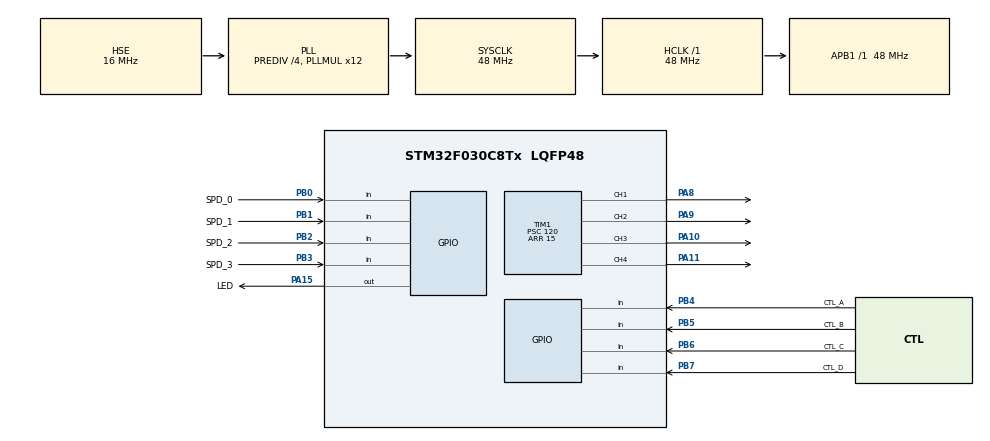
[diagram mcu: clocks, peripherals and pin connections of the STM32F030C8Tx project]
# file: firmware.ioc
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Mcu.Family=STM32F0
Mcu.Name=STM32F030C8Tx
Mcu.Package=LQFP48
NVIC.TIM1_BRK_UP_TRG_COM_IRQn=true\:0\:0\:true\:false\:true\:true\:true
PA10.GPIO_ModeDefaultPP=GPIO_MODE_AF_OD
PA10.GPIO_PuPd=GPIO_NOPULL
PA10.GPIO_Speed=GPIO_SPEED_FREQ_HIGH
PA10.Signal=S_TIM1_CH3
PA11.GPIO_ModeDefaultPP=GPIO_MODE_AF_OD
PA11.GPIO_PuPd=GPIO_NOPULL
PA11.GPIO_Speed=GPIO_SPEED_FREQ_HIGH
PA11.Signal=S_TIM1_CH4
PA13.Mode=Serial_Wire
PA13.Signal=SYS_SWDIO
PA14.Mode=Serial_Wire
PA14.Signal=SYS_SWCLK
PA15.GPIO_Label=LED
PA15.GPIO_Speed=GPIO_SPEED_FREQ_HIGH
PA15.Signal=GPIO_Output
PA8.GPIO_ModeDefaultPP=GPIO_MODE_AF_OD
PA8.GPIO_PuPd=GPIO_NOPULL
PA8.GPIO_Speed=GPIO_SPEED_FREQ_HIGH
PA8.Signal=S_TIM1_CH1
PA9.GPIO_ModeDefaultPP=GPIO_MODE_AF_OD
PA9.GPIO_PuPd=GPIO_NOPULL
PA9.GPIO_Speed=GPIO_SPEED_FREQ_HIGH
PA9.Signal=S_TIM1_CH2
PB0.GPIO_Label=SPD_0
PB0.GPIO_PuPd=GPIO_PULLUP
PB0.Signal=GPIO_Input
PB1.GPIO_Label=SPD_1
PB1.GPIO_PuPd=GPIO_PULLUP
PB1.Signal=GPIO_Input
PB2.GPIO_Label=SPD_2
PB2.GPIO_PuPd=GPIO_PULLUP
PB2.Signal=GPIO_Input
PB3.GPIO_Label=SPD_3
PB3.GPIO_PuPd=GPIO_PULLUP
PB3.Signal=GPIO_Input
PB4.GPIO_Label=CTL_A
PB4.GPIO_PuPd=GPIO_PULLUP
PB4.Signal=GPIO_Input
PB5.GPIO_Label=CTL_B
PB5.GPIO_PuPd=GPIO_PULLUP
PB5.Signal=GPIO_Input
PB6.GPIO_Label=CTL_C
PB6.GPIO_PuPd=GPIO_PULLUP
PB6.Signal=GPIO_Input
PB7.GPIO_Label=CTL_D
PB7.GPIO_PuPd=GPIO_PULLUP
PB7.Signal=GPIO_Input
PF0-OSC_IN.Mode=HSE-External-Oscillator
PF0-OSC_IN.Signal=RCC_OSC_IN
PF1-OSC_OUT.Mode=HSE-External-Oscillator
PF1-OSC_OUT.Signal=RCC_OSC_OUT
ProjectManager.HeapSize=0x200
ProjectManager.StackSize=0x400
ProjectManager.TargetToolchain=SW4STM32
RCC.AHBFreq_Value=48000000
RCC.APB1Freq_Value=48000000
RCC.APB1TimFreq_Value=48000000
RCC.EnbaleCSS=true
RCC.HCLKFreq_Value=48000000
RCC.HSE_VALUE=16000000
RCC.PLLDivider=RCC_PREDIV_DIV4
RCC.PLLMUL=RCC_PLL_MUL12
RCC.PLLSourceVirtual=RCC_PLLSOURCE_HSE
RCC.SYSCLKFreq_VALUE=48000000
RCC.SYSCLKSource=RCC_SYSCLKSOURCE_PLLCLK
SH.S_TIM1_CH1.0=TIM1_CH1,PWM Generation1 CH1
SH.S_TIM1_CH2.0=TIM1_CH2,PWM Generation2 CH2
SH.S_TIM1_CH3.0=TIM1_CH3,PWM Generation3 CH3
SH.S_TIM1_CH4.0=TIM1_CH4,PWM Generation4 CH4
TIM1.Channel-PWM\ Generation1\ CH1=TIM_CHANNEL_1
TIM1.Channel-PWM\ Generation2\ CH2=TIM_CHANNEL_2
TIM1.Channel-PWM\ Generation3\ CH3=TIM_CHANNEL_3
TIM1.Channel-PWM\ Generation4\ CH4=TIM_CHANNEL_4
TIM1.OCFastMode_PWM-PWM\ Generation1\ CH1=TIM_OCFAST_ENABLE
TIM1.OCFastMode_PWM-PWM\ Generation2\ CH2=TIM_OCFAST_ENABLE
TIM1.OCFastMode_PWM-PWM\ Generation3\ CH3=TIM_OCFAST_ENABLE
TIM1.OCFastMode_PWM-PWM\ Generation4\ CH4=TIM_OCFAST_ENABLE
TIM1.Period=15
TIM1.Prescaler=120
VP_IWDG_VS_IWDG.Mode=IWDG_Activate
VP_TIM1_VS_ClockSourceINT.Mode=Internal
board=custom

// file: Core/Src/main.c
/* USER CODE BEGIN Header */
/**
  ******************************************************************************
  * @file           : main.c
  * @brief          : Main program body
  ******************************************************************************
  * @attention
  *
  * <h2><center>&copy; Copyright (c) 2019 STMicroelectronics.
  * All rights reserved.</center></h2>
  *
  * This software component is licensed by ST under BSD 3-Clause license,
  * the "License"; You may not use this file except in compliance with the
  * License. You may obtain a copy of the License at:
  *                        opensource.org/licenses/BSD-3-Clause
  *
  ******************************************************************************
  */
/* USER CODE END Header */

#include "main.h"

IWDG_HandleTypeDef hiwdg;

TIM_HandleTypeDef htim1;

/* USER CODE BEGIN PV */
static uint8_t pwmValue = 0;
/* USER CODE END PV */

void SystemClock_Config(void);
static void MX_GPIO_Init(void);
static void MX_IWDG_Init(void);
static void MX_TIM1_Init(void);

int main(void)
{

  /* MCU Configuration--------------------------------------------------------*/

  /* Reset of all peripherals, Initializes the Flash interface and the Systick. */
  HAL_Init();

  /* Configure the system clock */
  SystemClock_Config();

  /* Initialize all configured peripherals */
  MX_GPIO_Init();
  MX_IWDG_Init();
  MX_TIM1_Init();
  /* USER CODE BEGIN 2 */
  HAL_TIM_PWM_Start_IT(&htim1, TIM_CHANNEL_1);
  HAL_TIM_PWM_Start_IT(&htim1, TIM_CHANNEL_2);
  HAL_TIM_PWM_Start_IT(&htim1, TIM_CHANNEL_3);
  HAL_TIM_PWM_Start_IT(&htim1, TIM_CHANNEL_4);
  /* USER CODE END 2 */

  /* Infinite loop */
  /* USER CODE BEGIN WHILE */
  while (1) {
	  HAL_GPIO_TogglePin(LED_GPIO_Port, LED_Pin);

	  pwmValue = !HAL_GPIO_ReadPin(SPD_0_GPIO_Port, SPD_0_Pin);
	  pwmValue |= !HAL_GPIO_ReadPin(SPD_1_GPIO_Port, SPD_1_Pin) << 1;
	  pwmValue |= !HAL_GPIO_ReadPin(SPD_2_GPIO_Port, SPD_2_Pin) << 2;
	  pwmValue |= !HAL_GPIO_ReadPin(SPD_3_GPIO_Port, SPD_3_Pin) << 3;
	  pwmValue &= 0xF;

	  htim1.Instance->CCR1 = pwmValue;
	  htim1.Instance->CCR2 = pwmValue;
	  htim1.Instance->CCR3 = pwmValue;
	  htim1.Instance->CCR4 = pwmValue;

	  if (HAL_GPIO_ReadPin(CTL_A_GPIO_Port, CTL_A_Pin) == GPIO_PIN_SET)
		  htim1.Instance->CCR1 = 0x0;
	  if (HAL_GPIO_ReadPin(CTL_B_GPIO_Port, CTL_B_Pin) == GPIO_PIN_SET)
		  htim1.Instance->CCR2 = 0x0;
	  if (HAL_GPIO_ReadPin(CTL_C_GPIO_Port, CTL_C_Pin) == GPIO_PIN_SET)
		  htim1.Instance->CCR3 = 0x0;
	  if (HAL_GPIO_ReadPin(CTL_D_GPIO_Port, CTL_D_Pin) == GPIO_PIN_SET)
		  htim1.Instance->CCR4 = 0x0;

	  HAL_IWDG_Refresh(&hiwdg);
    /* USER CODE END WHILE */

  }
}

void SystemClock_Config(void)
{
  RCC_OscInitTypeDef RCC_OscInitStruct = {0};
  RCC_ClkInitTypeDef RCC_ClkInitStruct = {0};

  /** Initializes the CPU, AHB and APB busses clocks
  */
  RCC_OscInitStruct.OscillatorType = RCC_OSCILLATORTYPE_LSI|RCC_OSCILLATORTYPE_HSE;
  RCC_OscInitStruct.HSEState = RCC_HSE_ON;
  RCC_OscInitStruct.LSIState = RCC_LSI_ON;
  RCC_OscInitStruct.PLL.PLLState = RCC_PLL_ON;
  RCC_OscInitStruct.PLL.PLLSource = RCC_PLLSOURCE_HSE;
  RCC_OscInitStruct.PLL.PLLMUL = RCC_PLL_MUL12;
  RCC_OscInitStruct.PLL.PREDIV = RCC_PREDIV_DIV4;
  if (HAL_RCC_OscConfig(&RCC_OscInitStruct) != HAL_OK)
  {
    Error_Handler();
  }
  /** Initializes the CPU, AHB and APB busses clocks
  */
  RCC_ClkInitStruct.ClockType = RCC_CLOCKTYPE_HCLK|RCC_CLOCKTYPE_SYSCLK
                              |RCC_CLOCKTYPE_PCLK1;
  RCC_ClkInitStruct.SYSCLKSource = RCC_SYSCLKSOURCE_PLLCLK;
  RCC_ClkInitStruct.AHBCLKDivider = RCC_SYSCLK_DIV1;
  RCC_ClkInitStruct.APB1CLKDivider = RCC_HCLK_DIV1;

  if (HAL_RCC_ClockConfig(&RCC_ClkInitStruct, FLASH_LATENCY_1) != HAL_OK)
  {
    Error_Handler();
  }
  /** Enables the Clock Security System
  */
  HAL_RCC_EnableCSS();
}

static void MX_IWDG_Init(void)
{

  hiwdg.Instance = IWDG;
  hiwdg.Init.Prescaler = IWDG_PRESCALER_4;
  hiwdg.Init.Window = 4095;
  hiwdg.Init.Reload = 4095;
  if (HAL_IWDG_Init(&hiwdg) != HAL_OK)
  {
    Error_Handler();
  }

}

static void MX_TIM1_Init(void)
{

  TIM_ClockConfigTypeDef sClockSourceConfig = {0};
  TIM_MasterConfigTypeDef sMasterConfig = {0};
  TIM_OC_InitTypeDef sConfigOC = {0};
  TIM_BreakDeadTimeConfigTypeDef sBreakDeadTimeConfig = {0};

  htim1.Instance = TIM1;
  htim1.Init.Prescaler = 120;
  htim1.Init.CounterMode = TIM_COUNTERMODE_UP;
  htim1.Init.Period = 15;
  htim1.Init.ClockDivision = TIM_CLOCKDIVISION_DIV1;
  htim1.Init.RepetitionCounter = 0;
  htim1.Init.AutoReloadPreload = TIM_AUTORELOAD_PRELOAD_DISABLE;
  if (HAL_TIM_Base_Init(&htim1) != HAL_OK)
  {
    Error_Handler();
  }
  sClockSourceConfig.ClockSource = TIM_CLOCKSOURCE_INTERNAL;
  if (HAL_TIM_ConfigClockSource(&htim1, &sClockSourceConfig) != HAL_OK)
  {
    Error_Handler();
  }
  if (HAL_TIM_PWM_Init(&htim1) != HAL_OK)
  {
    Error_Handler();
  }
  sMasterConfig.MasterOutputTrigger = TIM_TRGO_RESET;
  sMasterConfig.MasterSlaveMode = TIM_MASTERSLAVEMODE_DISABLE;
  if (HAL_TIMEx_MasterConfigSynchronization(&htim1, &sMasterConfig) != HAL_OK)
  {
    Error_Handler();
  }
  sConfigOC.OCMode = TIM_OCMODE_PWM1;
  sConfigOC.Pulse = 0;
  sConfigOC.OCPolarity = TIM_OCPOLARITY_HIGH;
  sConfigOC.OCNPolarity = TIM_OCNPOLARITY_HIGH;
  sConfigOC.OCFastMode = TIM_OCFAST_ENABLE;
  sConfigOC.OCIdleState = TIM_OCIDLESTATE_RESET;
  sConfigOC.OCNIdleState = TIM_OCNIDLESTATE_RESET;
  if (HAL_TIM_PWM_ConfigChannel(&htim1, &sConfigOC, TIM_CHANNEL_1) != HAL_OK)
  {
    Error_Handler();
  }
  if (HAL_TIM_PWM_ConfigChannel(&htim1, &sConfigOC, TIM_CHANNEL_2) != HAL_OK)
  {
    Error_Handler();
  }
  if (HAL_TIM_PWM_ConfigChannel(&htim1, &sConfigOC, TIM_CHANNEL_3) != HAL_OK)
  {
    Error_Handler();
  }
  if (HAL_TIM_PWM_ConfigChannel(&htim1, &sConfigOC, TIM_CHANNEL_4) != HAL_OK)
  {
    Error_Handler();
  }
  sBreakDeadTimeConfig.OffStateRunMode = TIM_OSSR_DISABLE;
  sBreakDeadTimeConfig.OffStateIDLEMode = TIM_OSSI_DISABLE;
  sBreakDeadTimeConfig.LockLevel = TIM_LOCKLEVEL_OFF;
  sBreakDeadTimeConfig.DeadTime = 0;
  sBreakDeadTimeConfig.BreakState = TIM_BREAK_DISABLE;
  sBreakDeadTimeConfig.BreakPolarity = TIM_BREAKPOLARITY_HIGH;
  sBreakDeadTimeConfig.AutomaticOutput = TIM_AUTOMATICOUTPUT_DISABLE;
  if (HAL_TIMEx_ConfigBreakDeadTime(&htim1, &sBreakDeadTimeConfig) != HAL_OK)
  {
    Error_Handler();
  }
  HAL_TIM_MspPostInit(&htim1);

}

static void MX_GPIO_Init(void)
{
  GPIO_InitTypeDef GPIO_InitStruct = {0};

  /* GPIO Ports Clock Enable */
  __HAL_RCC_GPIOF_CLK_ENABLE();
  __HAL_RCC_GPIOB_CLK_ENABLE();
  __HAL_RCC_GPIOA_CLK_ENABLE();

  /*Configure GPIO pin Output Level */
  HAL_GPIO_WritePin(LED_GPIO_Port, LED_Pin, GPIO_PIN_RESET);

  /*Configure GPIO pins : SPD_0_Pin SPD_1_Pin SPD_2_Pin SPD_3_Pin
                           CTL_A_Pin CTL_B_Pin CTL_C_Pin CTL_D_Pin */
  GPIO_InitStruct.Pin = SPD_0_Pin|SPD_1_Pin|SPD_2_Pin|SPD_3_Pin
                          |CTL_A_Pin|CTL_B_Pin|CTL_C_Pin|CTL_D_Pin;
  GPIO_InitStruct.Mode = GPIO_MODE_INPUT;
  GPIO_InitStruct.Pull = GPIO_PULLUP;
  HAL_GPIO_Init(GPIOB, &GPIO_InitStruct);

  /*Configure GPIO pin : LED_Pin */
  GPIO_InitStruct.Pin = LED_Pin;
  GPIO_InitStruct.Mode = GPIO_MODE_OUTPUT_PP;
  GPIO_InitStruct.Pull = GPIO_NOPULL;
  GPIO_InitStruct.Speed = GPIO_SPEED_FREQ_HIGH;
  HAL_GPIO_Init(LED_GPIO_Port, &GPIO_InitStruct);

}

void Error_Handler(void)
{
}

/************************ (C) COPYRIGHT STMicroelectronics *****END OF FILE****/
